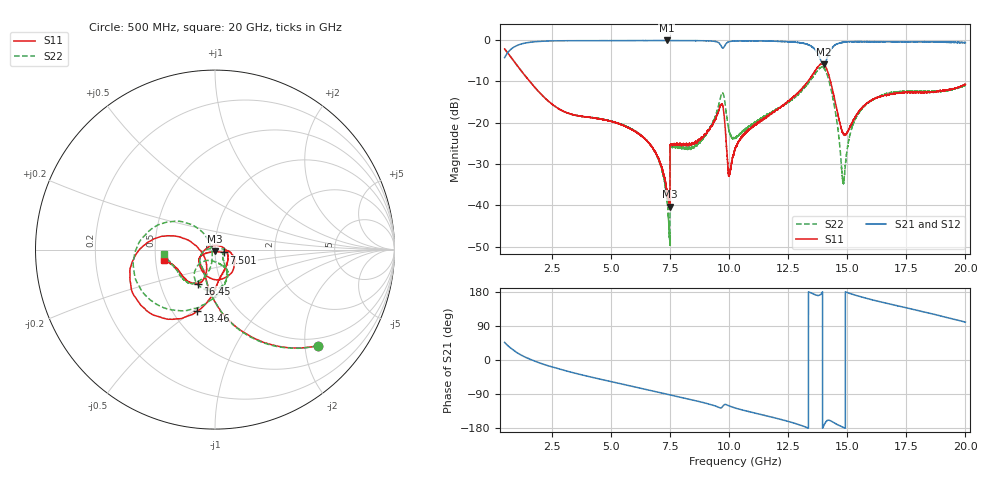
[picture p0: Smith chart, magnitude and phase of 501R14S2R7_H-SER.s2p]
!{501R14S2R7}
!Johanson Technology Inc.
!www.johansontechnology.com
!Test Board Conditions:
!Substrate Type  RO4350B
!Substrate Thickness  20 mil
!Substrate Dk  3.66
!TL Type: GCPW
!TL Trace Width  36 mil
!TL Gap  12 mil
!Electrode orientation  Horizontal
!DUT TOPOLOGY	SERIES
!Mounting Pad LxW  26x36 mil
! Created Wed Mar 11 15:58:18 2020
# mhz S ma R 50
! 2 Port Network Data from SP1.SP block
! freq  magS11  angS11  magS21  angS21  magS12  angS12  magS22  angS22
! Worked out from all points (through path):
!   19501 points, 500 MHz to 20 GHz, reference 50 ohm
!   highest |S21| = -0.06 dB at 7.356 GHz (marker M1); lowest = -5.9 dB at 14 GHz (marker M2)
!   group delay of S21, straight-line fit = 38.3 ps
!   lowest |S11| = -40.3 dB at 7.499 GHz (marker M3), VSWR 1.02, Z = 50 - j0.962 ohm
!   |S11| at or under -10 dB: 1.569 GHz to 13.33 GHz (11.76 GHz wide, 158 % of centre); 14.29 GHz to end of sweep
!   |S22| runs from -49.9 to -2.1 dB; largest |S21 - S12| = 0.02
!   S11 on the Smith chart (normalised r, x): 500 MHz: 0.82, -2.28; 7.501 GHz: 1.11, -0.04; 13.46 GHz: 0.66, -0.52; 16.45 GHz: 0.77, -0.31; 20 GHz: 0.55, -0.07
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500  0.7838 -43.0  0.6155 46.5  0.616 46.6  0.7829 -43.1
1575  0.3149 -87.6  0.9438 2.2  0.9442 2.2  0.3153 -87.4
3750  0.1199 -128.6  0.9865 -38.9  0.9862 -38.9  0.1193 -129.4
7000  0.03775 -155.1  0.9913 -85.0  0.9917 -85.0  0.03742 174.4
7356  0.01567 -133.5  0.9936 -90.1  0.9911 -90.1  0.01342 157.4
7403  0.01409 -124.6  0.9913 -90.8  0.9916 -90.8  0.009931 159.1
7499  0.009637 -92.0  0.9914 -92.1  0.9908 -92.1  0.003325 108.4
7501  0.05303 -17.7  0.9904 -92.1  0.9903 -92.1  0.05031 5.4
7598  0.05361 -18.1  0.9906 -93.5  0.9901 -93.5  0.05112 3.5
8705  0.06234 -6.5  0.9874 -109.3  0.9874 -109.3  0.05737 -38.9
9695  0.168 -83.1  0.8221 -125.3  0.8236 -125.1  0.2285 -93.0
9996  0.02392 99.4  0.9585 -121.0  0.9575 -121.1  0.07967 -129.8
10250  0.04829 12.9  0.9796 -126.6  0.9785 -126.5  0.06515 -95.9
13462  0.3571 -106.2  0.851 177.2  0.856 176.9  0.3333 -105.7
13500  0.3693 -107.5  0.8366 176.0  0.8423 175.8  0.3454 -108.6
14001  0.5099 -157.1  0.5084 -174.2  0.5101 -174.8  0.4618 -169.5
14421  0.2208 160.6  0.8477 -164.8  0.8461 -164.7  0.1805 132.0
14834  0.07385 -164.6  0.9457 -177.9  0.9445 -177.9  0.01826 -167.4
15362  0.1209 -112.6  0.9611 170.7  0.9649 170.7  0.114 -105.1
16449  0.2116 -116.4  0.9598 152.7  0.956 152.9  0.2157 -121.1
16750  0.2181 -120.5  0.9596 148.4  0.9541 148.3  0.2305 -123.8
20000  0.2917 -168.8  0.9335 100.0  0.9309 100.3  0.2837 -174.9
